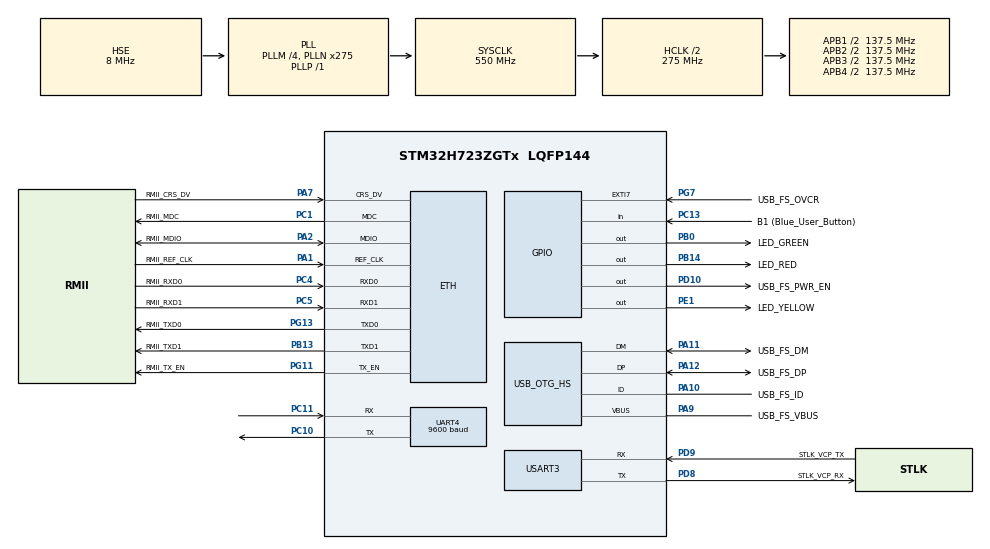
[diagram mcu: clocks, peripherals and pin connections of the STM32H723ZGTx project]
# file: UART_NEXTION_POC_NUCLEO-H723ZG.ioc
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ETH.MediaInterface=HAL_ETH_RMII_MODE
Mcu.Family=STM32H7
Mcu.Name=STM32H723ZGTx
Mcu.Package=LQFP144
NVIC.PriorityGroup=NVIC_PRIORITYGROUP_4
NVIC.UART4_IRQn=true\:0\:0\:false\:false\:true\:true\:true\:true
PA1.GPIO_Label=RMII_REF_CLK
PA1.Mode=RMII
PA1.Signal=ETH_REF_CLK
PA10.GPIO_Label=USB_FS_ID
PA10.Mode=OTG/Dual-Role-Device-FS
PA10.Signal=USB_OTG_HS_ID
PA11.GPIO_Label=USB_FS_DM
PA11.Mode=OTG/Dual-Role-Device-FS
PA11.Signal=USB_OTG_HS_DM
PA12.GPIO_Label=USB_FS_DP
PA12.Mode=OTG/Dual-Role-Device-FS
PA12.Signal=USB_OTG_HS_DP
PA13(JTMS/SWDIO).GPIO_Label=SWDIO
PA13(JTMS/SWDIO).Mode=Trace_Asynchronous_SW
PA13(JTMS/SWDIO).Signal=DEBUG_JTMS-SWDIO
PA14(JTCK/SWCLK).GPIO_Label=SWCLK
PA14(JTCK/SWCLK).Mode=Trace_Asynchronous_SW
PA14(JTCK/SWCLK).Signal=DEBUG_JTCK-SWCLK
PA2.GPIO_Label=RMII_MDIO
PA2.Mode=RMII
PA2.Signal=ETH_MDIO
PA7.GPIO_Label=RMII_CRS_DV
PA7.Mode=RMII
PA7.Signal=ETH_CRS_DV
PA9.GPIO_Label=USB_FS_VBUS
PA9.Mode=Activate_VBUS_FS
PA9.Signal=USB_OTG_HS_VBUS
PB0.GPIO_Label=LED_GREEN
PB0.Signal=GPIO_Output
PB13.GPIO_Label=RMII_TXD1
PB13.Mode=RMII
PB13.Signal=ETH_TXD1
PB14.GPIO_Label=LED_RED
PB14.Signal=GPIO_Output
PB3(JTDO/TRACESWO).GPIO_Label=SWO
PB3(JTDO/TRACESWO).Mode=Trace_Asynchronous_SW
PB3(JTDO/TRACESWO).Signal=DEBUG_JTDO-SWO
PC1.GPIO_Label=RMII_MDC
PC1.Mode=RMII
PC1.Signal=ETH_MDC
PC10.Mode=Asynchronous
PC10.Signal=UART4_TX
PC11.Mode=Asynchronous
PC11.Signal=UART4_RX
PC13.GPIO_Label=B1 (Blue_User_Button)
PC13.Signal=GPIO_Input
PC14-OSC32_IN.Mode=LSE-External-Oscillator
PC14-OSC32_IN.Signal=RCC_OSC32_IN
PC15-OSC32_OUT.Mode=LSE-External-Oscillator
PC15-OSC32_OUT.Signal=RCC_OSC32_OUT
PC4.GPIO_Label=RMII_RXD0
PC4.Mode=RMII
PC4.Signal=ETH_RXD0
PC5.GPIO_Label=RMII_RXD1
PC5.Mode=RMII
PC5.Signal=ETH_RXD1
PD10.GPIO_Label=USB_FS_PWR_EN
PD10.Signal=GPIO_Output
PD8.GPIO_Label=STLK_VCP_RX
PD8.Mode=Asynchronous
PD8.Signal=USART3_TX
PD9.GPIO_Label=STLK_VCP_TX
PD9.Mode=Asynchronous
PD9.Signal=USART3_RX
PE1.GPIO_Label=LED_YELLOW
PE1.Signal=GPIO_Output
PG11.GPIO_Label=RMII_TX_EN
PG11.Mode=RMII
PG11.Signal=ETH_TX_EN
PG13.GPIO_Label=RMII_TXD0
PG13.Mode=RMII
PG13.Signal=ETH_TXD0
PG7.GPIO_Label=USB_FS_OVCR
PG7.Signal=GPXTI7
PH0-OSC_IN.GPIO_Label=MCO
PH0-OSC_IN.Mode=HSE-External-Clock-Source
PH0-OSC_IN.Signal=RCC_OSC_IN
PH1-OSC_OUT.Signal=RCC_OSC_OUT
ProjectManager.HeapSize=0x200
ProjectManager.StackSize=0x400
ProjectManager.TargetToolchain=STM32CubeIDE
RCC.ADCFreq_Value=76000000
RCC.APB1Freq_Value=137500000
RCC.APB2Freq_Value=137500000
RCC.APB3Freq_Value=137500000
RCC.APB4Freq_Value=137500000
RCC.CortexFreq_Value=550000000
RCC.D1PPRE=RCC_APB3_DIV2
RCC.D2PPRE1=RCC_APB1_DIV2
RCC.D2PPRE2=RCC_APB2_DIV2
RCC.D3PPRE=RCC_APB4_DIV2
RCC.DIVM1=4
RCC.DIVM2=1
RCC.DIVN1=275
RCC.DIVN2=19
RCC.DIVP1=1
RCC.DIVQ1=4
RCC.HCLKFreq_Value=275000000
RCC.HPRE=RCC_HCLK_DIV2
RCC.HSE_VALUE=8000000
RCC.PLLFRACN=0
RCC.PLLSourceVirtual=RCC_PLLSOURCE_HSE
RCC.SYSCLKFreq_VALUE=550000000
RCC.SYSCLKSource=RCC_SYSCLKSOURCE_PLLCLK
RCC.USBCLockSelection=RCC_USBCLKSOURCE_HSI48
RCC.USBFreq_Value=48000000
UART4.BaudRate=9600
USART3.VirtualMode-Asynchronous=VM_ASYNC
board=NUCLEO-H723ZG

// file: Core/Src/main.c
/* USER CODE BEGIN Header */
/**
  ******************************************************************************
  * @file           : main.c
  * @brief          : Main program body
  ******************************************************************************
  * @attention
  *
  * Copyright (c) 2023 STMicroelectronics.
  * All rights reserved.
  *
  * This software is licensed under terms that can be found in the LICENSE file
  * in the root directory of this software component.
  * If no LICENSE file comes with this software, it is provided AS-IS.
  *
  ******************************************************************************
  */
/* USER CODE END Header */
#include "main.h"
#include "string.h"

#if defined ( __ICCARM__ ) /*!< IAR Compiler */
#pragma location=0x30000000
ETH_DMADescTypeDef  DMARxDscrTab[ETH_RX_DESC_CNT]; /* Ethernet Rx DMA Descriptors */
#pragma location=0x30000200
ETH_DMADescTypeDef  DMATxDscrTab[ETH_TX_DESC_CNT]; /* Ethernet Tx DMA Descriptors */

#elif defined ( __CC_ARM )  /* MDK ARM Compiler */

__attribute__((at(0x30000000))) ETH_DMADescTypeDef  DMARxDscrTab[ETH_RX_DESC_CNT]; /* Ethernet Rx DMA Descriptors */
__attribute__((at(0x30000200))) ETH_DMADescTypeDef  DMATxDscrTab[ETH_TX_DESC_CNT]; /* Ethernet Tx DMA Descriptors */

#elif defined ( __GNUC__ ) /* GNU Compiler */
ETH_DMADescTypeDef DMARxDscrTab[ETH_RX_DESC_CNT] __attribute__((section(".RxDecripSection"))); /* Ethernet Rx DMA Descriptors */
ETH_DMADescTypeDef DMATxDscrTab[ETH_TX_DESC_CNT] __attribute__((section(".TxDecripSection")));   /* Ethernet Tx DMA Descriptors */

#endif

ETH_TxPacketConfig TxConfig;

ETH_HandleTypeDef heth;

UART_HandleTypeDef huart4;
UART_HandleTypeDef huart3;

/* USER CODE BEGIN PV */
#define rx_data_size 2
uint8_t tx_buffer[27] = "Welcome to BinaryUpdates!\n\r";
uint8_t rx_ind;
uint8_t rx_data[rx_data_size];
uint8_t rx_data_flag;
uint8_t rx_buffer[100];
uint8_t transfer_cplt;
uint8_t data[20];
uint8_t data1[4];
uint8_t cmd_end[3] = {0xFF,0xFF,0xFF}; //(FROM STM TO NEXTION)
uint8_t stream_end[5] = {83,84,79,80,80}; //STOPP (FROM NEXTION TO STM)
uint8_t stream_start[6] = {83,84,65,82,84,84}; //STARTT (FROM NEXTION TO STM)
char *start_ind;
char *stop_ind;
/* USER CODE END PV */

void SystemClock_Config(void);
static void MX_GPIO_Init(void);
static void MX_ETH_Init(void);
static void MX_USART3_UART_Init(void);
static void MX_USB_OTG_HS_USB_Init(void);
static void MX_UART4_Init(void);

int main(void)
{

  /* MCU Configuration--------------------------------------------------------*/

  /* Reset of all peripherals, Initializes the Flash interface and the Systick. */
  HAL_Init();

  /* Configure the system clock */
  SystemClock_Config();

  /* Initialize all configured peripherals */
  MX_GPIO_Init();
  MX_ETH_Init();
  MX_USART3_UART_Init();
  MX_USB_OTG_HS_USB_Init();
  MX_UART4_Init();
  /* USER CODE BEGIN 2 */
  HAL_UART_Receive_IT(&huart4 ,rx_data ,rx_data_size/2);
  rx_ind = 0;
  rx_data_flag=0;
  stop_ind = 0;
  /* USER CODE END 2 */

  /* Infinite loop */
  while (1)
  {

    /* USER CODE BEGIN 3 */

	// GUST TEST THE strstr func
	//////////////////////////////////////////////////////////////////
	uint8_t arr1[5]={3,4,6,6,8};
	uint8_t arr2[2]={6,6};
	int i=0;

	if( strstr(arr1,arr2) ) //if(rx_ind==20)
	{
	  HAL_Delay(1000);
	}
	//////////////////////////////////////////////////////////////////
	//HAL_Delay(1000);

	if(rx_data_flag == 1)
	{
		data[0] = 't'; //t //116
		data[1] = '3'; //3 //51
		data[2] = '.'; //. //46
		data[3] = 't'; //t //116
		data[4] = 'x'; //x //120
		data[5] = 't'; //t //116
		data[6] = '='; //= //61
		data[7] = '"'; //= //61
		i=0;
		start_ind = strstr(rx_buffer,stream_start);
		start_ind = start_ind +5+1; // +5 for the STARTT string and +1 for the next value
		while(start_ind<stop_ind)
		{
			data[8+i]=*start_ind;
			start_ind++;
			i++;
		}
		uint8_t s = *start_ind;
		/*for(i=0; i<strlen(rx_buffer)-(7+5);i++)
		{
			data[8+i]=rx_buffer[i];
			//data1[i]=rx_buffer[5+i];
		}*/
		data[8+i]='"';

		//HAL_Delay(1000);
		HAL_UART_Transmit(&huart4 ,data ,strlen(data),1000);

		HAL_UART_Transmit(&huart4 ,cmd_end ,strlen(cmd_end),1000);
		//HAL_UART_Transmit(&huart4 ,data1 ,strlen(data1),1000);

		rx_data_flag=0;
		rx_ind = 0;

		uint8_t index=0;
		uint8_t len = strlen(data);
		for(index=0; index<len;index++)
		{
			data[index]=0;
		}

		for(index=0; index<len;index++)
		{
			rx_buffer[index]=0;
		}

	}

  }
  /* USER CODE END 3 */
}

void SystemClock_Config(void)
{
  RCC_OscInitTypeDef RCC_OscInitStruct = {0};
  RCC_ClkInitTypeDef RCC_ClkInitStruct = {0};

  /** Supply configuration update enable
  */
  HAL_PWREx_ConfigSupply(PWR_LDO_SUPPLY);

  /** Configure the main internal regulator output voltage
  */
  __HAL_PWR_VOLTAGESCALING_CONFIG(PWR_REGULATOR_VOLTAGE_SCALE0);

  while(!__HAL_PWR_GET_FLAG(PWR_FLAG_VOSRDY)) {}

  /** Initializes the RCC Oscillators according to the specified parameters
  * in the RCC_OscInitTypeDef structure.
  */
  RCC_OscInitStruct.OscillatorType = RCC_OSCILLATORTYPE_HSI48|RCC_OSCILLATORTYPE_HSE;
  RCC_OscInitStruct.HSEState = RCC_HSE_BYPASS;
  RCC_OscInitStruct.HSI48State = RCC_HSI48_ON;
  RCC_OscInitStruct.PLL.PLLState = RCC_PLL_ON;
  RCC_OscInitStruct.PLL.PLLSource = RCC_PLLSOURCE_HSE;
  RCC_OscInitStruct.PLL.PLLM = 4;
  RCC_OscInitStruct.PLL.PLLN = 275;
  RCC_OscInitStruct.PLL.PLLP = 1;
  RCC_OscInitStruct.PLL.PLLQ = 4;
  RCC_OscInitStruct.PLL.PLLR = 2;
  RCC_OscInitStruct.PLL.PLLRGE = RCC_PLL1VCIRANGE_1;
  RCC_OscInitStruct.PLL.PLLVCOSEL = RCC_PLL1VCOWIDE;
  RCC_OscInitStruct.PLL.PLLFRACN = 0;
  if (HAL_RCC_OscConfig(&RCC_OscInitStruct) != HAL_OK)
  {
    Error_Handler();
  }

  /** Initializes the CPU, AHB and APB buses clocks
  */
  RCC_ClkInitStruct.ClockType = RCC_CLOCKTYPE_HCLK|RCC_CLOCKTYPE_SYSCLK
                              |RCC_CLOCKTYPE_PCLK1|RCC_CLOCKTYPE_PCLK2
                              |RCC_CLOCKTYPE_D3PCLK1|RCC_CLOCKTYPE_D1PCLK1;
  RCC_ClkInitStruct.SYSCLKSource = RCC_SYSCLKSOURCE_PLLCLK;
  RCC_ClkInitStruct.SYSCLKDivider = RCC_SYSCLK_DIV1;
  RCC_ClkInitStruct.AHBCLKDivider = RCC_HCLK_DIV2;
  RCC_ClkInitStruct.APB3CLKDivider = RCC_APB3_DIV2;
  RCC_ClkInitStruct.APB1CLKDivider = RCC_APB1_DIV2;
  RCC_ClkInitStruct.APB2CLKDivider = RCC_APB2_DIV2;
  RCC_ClkInitStruct.APB4CLKDivider = RCC_APB4_DIV2;

  if (HAL_RCC_ClockConfig(&RCC_ClkInitStruct, FLASH_LATENCY_3) != HAL_OK)
  {
    Error_Handler();
  }
}

static void MX_ETH_Init(void)
{

   static uint8_t MACAddr[6];

  heth.Instance = ETH;
  MACAddr[0] = 0x00;
  MACAddr[1] = 0x80;
  MACAddr[2] = 0xE1;
  MACAddr[3] = 0x00;
  MACAddr[4] = 0x00;
  MACAddr[5] = 0x00;
  heth.Init.MACAddr = &MACAddr[0];
  heth.Init.MediaInterface = HAL_ETH_RMII_MODE;
  heth.Init.TxDesc = DMATxDscrTab;
  heth.Init.RxDesc = DMARxDscrTab;
  heth.Init.RxBuffLen = 1524;

  if (HAL_ETH_Init(&heth) != HAL_OK)
  {
    Error_Handler();
  }

  memset(&TxConfig, 0 , sizeof(ETH_TxPacketConfig));
  TxConfig.Attributes = ETH_TX_PACKETS_FEATURES_CSUM | ETH_TX_PACKETS_FEATURES_CRCPAD;
  TxConfig.ChecksumCtrl = ETH_CHECKSUM_IPHDR_PAYLOAD_INSERT_PHDR_CALC;
  TxConfig.CRCPadCtrl = ETH_CRC_PAD_INSERT;

}

static void MX_UART4_Init(void)
{

  huart4.Instance = UART4;
  huart4.Init.BaudRate = 9600;
  huart4.Init.WordLength = UART_WORDLENGTH_8B;
  huart4.Init.StopBits = UART_STOPBITS_1;
  huart4.Init.Parity = UART_PARITY_NONE;
  huart4.Init.Mode = UART_MODE_TX_RX;
  huart4.Init.HwFlowCtl = UART_HWCONTROL_NONE;
  huart4.Init.OverSampling = UART_OVERSAMPLING_16;
  huart4.Init.OneBitSampling = UART_ONE_BIT_SAMPLE_DISABLE;
  huart4.Init.ClockPrescaler = UART_PRESCALER_DIV1;
  huart4.AdvancedInit.AdvFeatureInit = UART_ADVFEATURE_NO_INIT;
  if (HAL_UART_Init(&huart4) != HAL_OK)
  {
    Error_Handler();
  }
  if (HAL_UARTEx_SetTxFifoThreshold(&huart4, UART_TXFIFO_THRESHOLD_1_8) != HAL_OK)
  {
    Error_Handler();
  }
  if (HAL_UARTEx_SetRxFifoThreshold(&huart4, UART_RXFIFO_THRESHOLD_1_8) != HAL_OK)
  {
    Error_Handler();
  }
  if (HAL_UARTEx_DisableFifoMode(&huart4) != HAL_OK)
  {
    Error_Handler();
  }

}

static void MX_USART3_UART_Init(void)
{

  huart3.Instance = USART3;
  huart3.Init.BaudRate = 115200;
  huart3.Init.WordLength = UART_WORDLENGTH_8B;
  huart3.Init.StopBits = UART_STOPBITS_1;
  huart3.Init.Parity = UART_PARITY_NONE;
  huart3.Init.Mode = UART_MODE_TX_RX;
  huart3.Init.HwFlowCtl = UART_HWCONTROL_NONE;
  huart3.Init.OverSampling = UART_OVERSAMPLING_16;
  huart3.Init.OneBitSampling = UART_ONE_BIT_SAMPLE_DISABLE;
  huart3.Init.ClockPrescaler = UART_PRESCALER_DIV1;
  huart3.AdvancedInit.AdvFeatureInit = UART_ADVFEATURE_NO_INIT;
  if (HAL_UART_Init(&huart3) != HAL_OK)
  {
    Error_Handler();
  }
  if (HAL_UARTEx_SetTxFifoThreshold(&huart3, UART_TXFIFO_THRESHOLD_1_8) != HAL_OK)
  {
    Error_Handler();
  }
  if (HAL_UARTEx_SetRxFifoThreshold(&huart3, UART_RXFIFO_THRESHOLD_1_8) != HAL_OK)
  {
    Error_Handler();
  }
  if (HAL_UARTEx_DisableFifoMode(&huart3) != HAL_OK)
  {
    Error_Handler();
  }

}

static void MX_USB_OTG_HS_USB_Init(void)
{

}

static void MX_GPIO_Init(void)
{
  GPIO_InitTypeDef GPIO_InitStruct = {0};

  /* GPIO Ports Clock Enable */
  __HAL_RCC_GPIOC_CLK_ENABLE();
  __HAL_RCC_GPIOH_CLK_ENABLE();
  __HAL_RCC_GPIOA_CLK_ENABLE();
  __HAL_RCC_GPIOB_CLK_ENABLE();
  __HAL_RCC_GPIOD_CLK_ENABLE();
  __HAL_RCC_GPIOG_CLK_ENABLE();
  __HAL_RCC_GPIOE_CLK_ENABLE();

  /*Configure GPIO pin Output Level */
  HAL_GPIO_WritePin(GPIOB, LED_GREEN_Pin|LED_RED_Pin, GPIO_PIN_RESET);

  /*Configure GPIO pin Output Level */
  HAL_GPIO_WritePin(USB_FS_PWR_EN_GPIO_Port, USB_FS_PWR_EN_Pin, GPIO_PIN_RESET);

  /*Configure GPIO pin Output Level */
  HAL_GPIO_WritePin(LED_YELLOW_GPIO_Port, LED_YELLOW_Pin, GPIO_PIN_RESET);

  /*Configure GPIO pin : B1_Pin */
  GPIO_InitStruct.Pin = B1_Pin;
  GPIO_InitStruct.Mode = GPIO_MODE_INPUT;
  GPIO_InitStruct.Pull = GPIO_NOPULL;
  HAL_GPIO_Init(B1_GPIO_Port, &GPIO_InitStruct);

  /*Configure GPIO pins : LED_GREEN_Pin LED_RED_Pin */
  GPIO_InitStruct.Pin = LED_GREEN_Pin|LED_RED_Pin;
  GPIO_InitStruct.Mode = GPIO_MODE_OUTPUT_PP;
  GPIO_InitStruct.Pull = GPIO_NOPULL;
  GPIO_InitStruct.Speed = GPIO_SPEED_FREQ_LOW;
  HAL_GPIO_Init(GPIOB, &GPIO_InitStruct);

  /*Configure GPIO pin : USB_FS_PWR_EN_Pin */
  GPIO_InitStruct.Pin = USB_FS_PWR_EN_Pin;
  GPIO_InitStruct.Mode = GPIO_MODE_OUTPUT_PP;
  GPIO_InitStruct.Pull = GPIO_NOPULL;
  GPIO_InitStruct.Speed = GPIO_SPEED_FREQ_LOW;
  HAL_GPIO_Init(USB_FS_PWR_EN_GPIO_Port, &GPIO_InitStruct);

  /*Configure GPIO pin : USB_FS_OVCR_Pin */
  GPIO_InitStruct.Pin = USB_FS_OVCR_Pin;
  GPIO_InitStruct.Mode = GPIO_MODE_IT_RISING;
  GPIO_InitStruct.Pull = GPIO_NOPULL;
  HAL_GPIO_Init(USB_FS_OVCR_GPIO_Port, &GPIO_InitStruct);

  /*Configure GPIO pin : USB_FS_VBUS_Pin */
  GPIO_InitStruct.Pin = USB_FS_VBUS_Pin;
  GPIO_InitStruct.Mode = GPIO_MODE_INPUT;
  GPIO_InitStruct.Pull = GPIO_NOPULL;
  HAL_GPIO_Init(USB_FS_VBUS_GPIO_Port, &GPIO_InitStruct);

  /*Configure GPIO pin : USB_FS_ID_Pin */
  GPIO_InitStruct.Pin = USB_FS_ID_Pin;
  GPIO_InitStruct.Mode = GPIO_MODE_AF_PP;
  GPIO_InitStruct.Pull = GPIO_NOPULL;
  GPIO_InitStruct.Speed = GPIO_SPEED_FREQ_LOW;
  GPIO_InitStruct.Alternate = GPIO_AF10_OTG1_HS;
  HAL_GPIO_Init(USB_FS_ID_GPIO_Port, &GPIO_InitStruct);

  /*Configure GPIO pin : LED_YELLOW_Pin */
  GPIO_InitStruct.Pin = LED_YELLOW_Pin;
  GPIO_InitStruct.Mode = GPIO_MODE_OUTPUT_PP;
  GPIO_InitStruct.Pull = GPIO_NOPULL;
  GPIO_InitStruct.Speed = GPIO_SPEED_FREQ_LOW;
  HAL_GPIO_Init(LED_YELLOW_GPIO_Port, &GPIO_InitStruct);

}

/* USER CODE BEGIN 4 */
void HAL_UART_RxCpltCallback(UART_HandleTypeDef *huart)
{
  /* Prevent unused argument(s) compilation warning */
  UNUSED(huart);
  HAL_UART_Receive_IT(&huart4 ,rx_data ,rx_data_size/2);

  uint8_t i=0;
  for(i; i<strlen(rx_data); i++)
	  rx_buffer[rx_ind+i]=rx_data[i];

  rx_ind = rx_ind+i;

  stop_ind = strstr(rx_buffer,stream_end);
  if(stop_ind) //rx_ind==9
  {
	  rx_data_flag=1;
	  rx_ind = 0;
  }
}
/* USER CODE END 4 */

void Error_Handler(void)
{
  __disable_irq();
  while (1)
  {
  }
}
